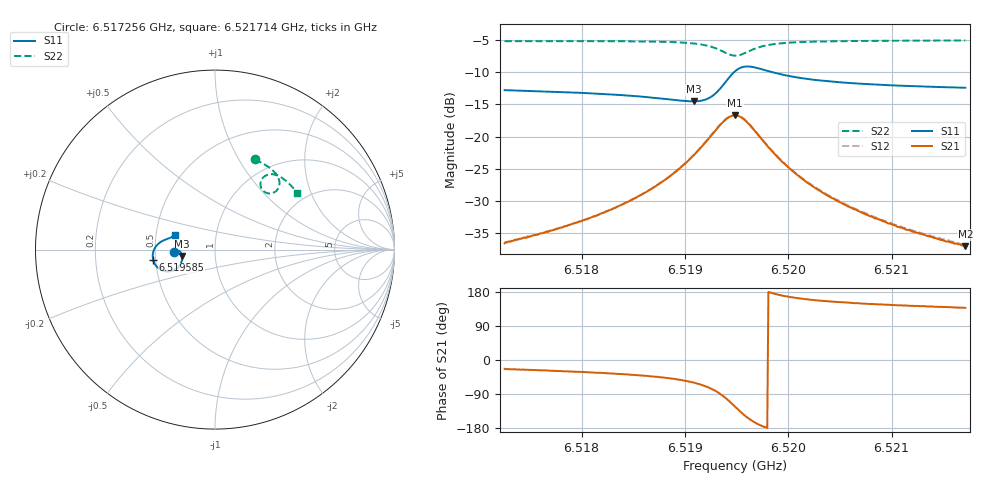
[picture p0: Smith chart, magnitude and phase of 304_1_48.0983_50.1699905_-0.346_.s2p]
#  HZ  S  RI  R  50.00
! Rohde & Schwarz Vector Network Analyzer
! Rohde-Schwarz,ZNB20-2Port,1311601062101988,3.16
! Created: UTC 12/23/2023, 4:05:05 AM
! freq[Hz]  re:S11  im:S11  re:S21  im:S21  re:S12  im:S12  re:S22  im:S22
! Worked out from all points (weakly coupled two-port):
!   401 points, 6.517256 GHz to 6.521714 GHz, reference 50 ohm
!   highest |S21| = -16.70 dB at 6.519485 GHz (marker M1); lowest = -37.0 dB at 6.521714 GHz (marker M2)
!   lowest |S11| = -14.5 dB at 6.519084 GHz (marker M3), VSWR 1.46, Z = 34.4 - j2.49 ohm
!   |S11| at or under -10 dB: start of sweep to 6.519477 GHz; 6.519842 GHz to end of sweep
!   |S22| runs from -7.5 to -5.1 dB; largest |S21 - S12| = 0.0043
!   S11 on the Smith chart (normalised r, x): 6.517256 GHz: 0.63, -0.02; 6.519585 GHz: 0.49, -0.07; 6.521714 GHz: 0.63, +0.11
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6.5172556e9  -0.2287 -0.0116  0.0137 -0.00593  0.014 -0.00555  0.2216 0.5021
6.5176792e9  -0.2235 -0.00574  0.0162 -0.00862  0.0165 -0.00809  0.2526 0.4876
6.5180024e9  -0.2183 -0.00256  0.019 -0.0116  0.0194 -0.0111  0.2765 0.4745
6.5183702e9  -0.2103 -0.00137  0.0233 -0.0176  0.024 -0.0169  0.304 0.456
6.5185931e9  -0.2037 -0.00349  0.0271 -0.0237  0.0279 -0.023  0.3212 0.4419
6.5187492e9  -0.1981 -0.00755  0.0303 -0.0305  0.0314 -0.0295  0.3334 0.4296
6.5189164e9  -0.191 -0.0164  0.0341 -0.0417  0.0355 -0.041  0.3465 0.4125
6.5190835e9  -0.1843 -0.0349  0.0363 -0.0616  0.0385 -0.0609  0.3572 0.3874
6.5191839e9  -0.184 -0.055  0.0332 -0.0809  0.0359 -0.0804  0.3592 0.3663
6.519273e9  -0.1923 -0.0807  0.0217 -0.104  0.025 -0.1042  0.3529 0.3423
6.5193956e9  -0.2385 -0.1186  -0.0251 -0.1334  -0.0216 -0.1352  0.3162 0.3138
6.5194848e9  -0.2997 -0.1136  -0.0795 -0.1226  -0.0767 -0.1258  0.2736 0.3232
6.5195294e9  -0.3257 -0.0935  -0.1005 -0.102  -0.0984 -0.1057  0.259 0.3408
6.5195851e9  -0.3438 -0.06  -0.1127 -0.0709  -0.1115 -0.0748  0.2533 0.3668
6.5196966e9  -0.3406 -0.00293  -0.1035 -0.0222  -0.1038 -0.0255  0.2712 0.4042
6.519808e9  -0.3206 0.0277  -0.0828 0.000718  -0.0836 -0.0017  0.2973 0.4181
6.5200198e9  -0.2894 0.0499  -0.0544 0.0136  -0.0554 0.012  0.3352 0.4176
6.5202316e9  -0.2706 0.0578  -0.0386 0.0151  -0.0396 0.0141  0.3608 0.4071
6.5205882e9  -0.2524 0.0645  -0.025 0.0139  -0.0257 0.0133  0.3914 0.3865
6.5209783e9  -0.2403 0.0702  -0.0176 0.012  -0.0182 0.0117  0.4172 0.3629
6.521335e9  -0.2323 0.0749  -0.0135 0.0106  -0.014 0.0104  0.4373 0.3411
6.5217139e9  -0.2254 0.0801  -0.0105 0.00955  -0.0109 0.0094  0.4563 0.3176
